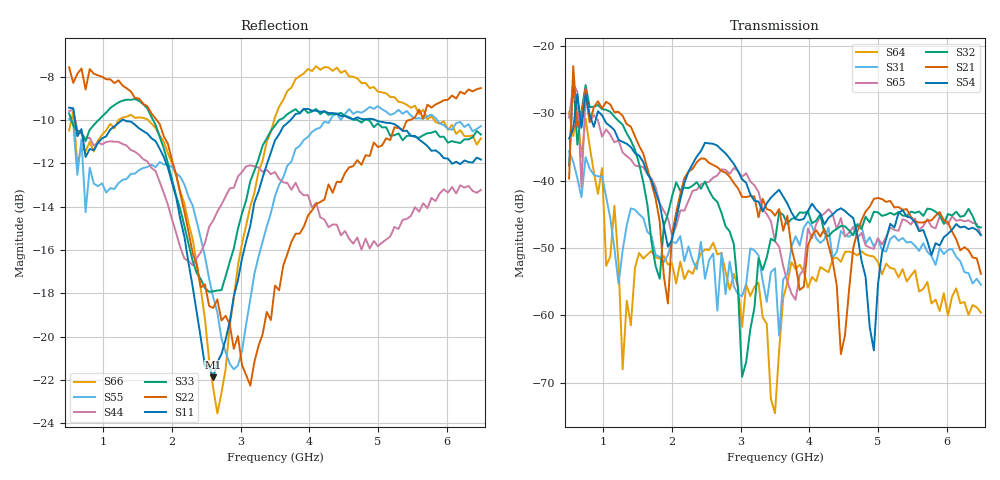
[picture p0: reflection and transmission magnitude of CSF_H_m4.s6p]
!Keysight Technologies,M9804A,MY58100912,A.14.10.03
!Date: Thursday, April 27, 2023 10:28:33
!Correction: S11(C  6-Port  )
!S12(C  6-Port  )
!S13(C  6-Port  )
!S14(C  6-Port  )
!S15(C  6-Port  )
!S16(C  6-Port  )
!S21(C  6-Port  )
!S22(C  6-Port  )
!S23(C  6-Port  )
!S24(C  6-Port  )
!S25(C  6-Port  )
!S26(C  6-Port  )
!S31(C  6-Port  )
!S32(C  6-Port  )
!S33(C  6-Port  )
!S34(C  6-Port  )
!S35(C  6-Port  )
!S36(C  6-Port  )
!S41(C  6-Port  )
!S42(C  6-Port  )
!S43(C  6-Port  )
!S44(C  6-Port  )
!S45(C  6-Port  )
!S46(C  6-Port  )
!S51(C  6-Port  )
!S52(C  6-Port  )
!S53(C  6-Port  )
!S54(C  6-Port  )
!S55(C  6-Port  )
!S56(C  6-Port  )
!S61(C  6-Port  )
!S62(C  6-Port  )
!S63(C  6-Port  )
!S64(C  6-Port  )
!S65(C  6-Port  )
!S66(C  6-Port  )
!S6P File: Measurement: :
# Hz S  RI  R 50
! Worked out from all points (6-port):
!   101 points, 500 MHz to 6.5 GHz, reference 50 ohm
!   strongest paths, dB at 500 MHz, 2 GHz, 3.5 GHz, 5 GHz, 6.5 GHz:
!     S54: -33.7, -48.8, -41.9, -55.5, -48.1
!     S21: -39.7, -47.9, -45.2, -42.6, -53.9
!     S32: -37.8, -42.4, -49.0, -44.7, -47.0
!     S65: -30.6, -48.1, -49.0, -48.6, -48.1
!     S31: -35.7, -49.1, -53.0, -48.7, -55.5
!     S64: -29.8, -52.3, -74.6, -52.1, -59.6
!   lowest |S11| = -21.9 dB at 2.6 GHz (marker M1), VSWR 1.18, Z = 42.8 + j1.96 ohm
!   |S11| at or under -10 dB: 585.4 MHz to 1.269 GHz (684 MHz wide, 73.8 % of centre); 1.301 GHz to 3.725 GHz (2.424 GHz wide, 96.4 % of centre); 4.967 GHz to end of sweep
